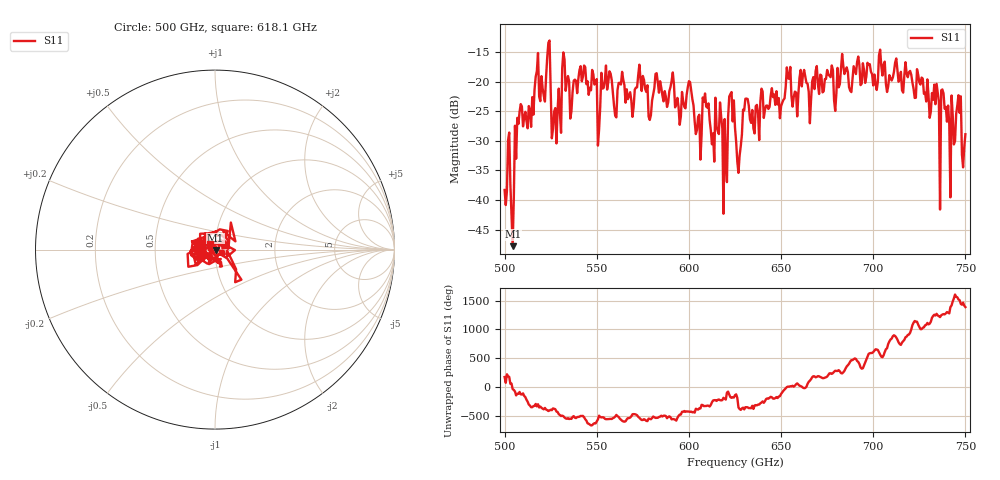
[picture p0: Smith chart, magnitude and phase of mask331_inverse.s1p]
!Created with skrf (http://scikit-rf.org).
# GHz S MA R 50.0
!freq magS11 angS11
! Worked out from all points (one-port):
!   401 points, 500 GHz to 750 GHz, reference 50 ohm
!   lowest |S11| = -47.8 dB at 504.4 GHz (marker M1), VSWR 1.01, Z = 50.3 - j0.259 ohm
!   |S11| at or under -10 dB: start of sweep to end of sweep
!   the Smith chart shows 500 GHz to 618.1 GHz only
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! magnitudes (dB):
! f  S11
! 500 GHz  -38.3
! 504.4 GHz  -47.8
! 508.1 GHz  -25.1
! 523.8 GHz  -13.4
! 526.9 GHz  -25.1
! 531.2 GHz  -17.7
! 548.8 GHz  -20.5
! 551.9 GHz  -24.3
! 553.8 GHz  -21.1
! 562.5 GHz  -20.2
! 593.8 GHz  -22.7
! 600.6 GHz  -20.1
! 605.6 GHz  -25.6
! 609.4 GHz  -24.2
! 616.9 GHz  -23.5
! 619.4 GHz  -26.3
! 622.5 GHz  -22.1
! 625 GHz  -27.8
! 626.9 GHz  -35.4
! 630.6 GHz  -22.9
! 656.2 GHz  -24.2
! 687.5 GHz  -21.5
! 718.8 GHz  -19.2
! 735 GHz  -21.9
! 738.1 GHz  -22.0
! 743.1 GHz  -25.7
! 746.2 GHz  -22.3
! 750 GHz  -28.9
